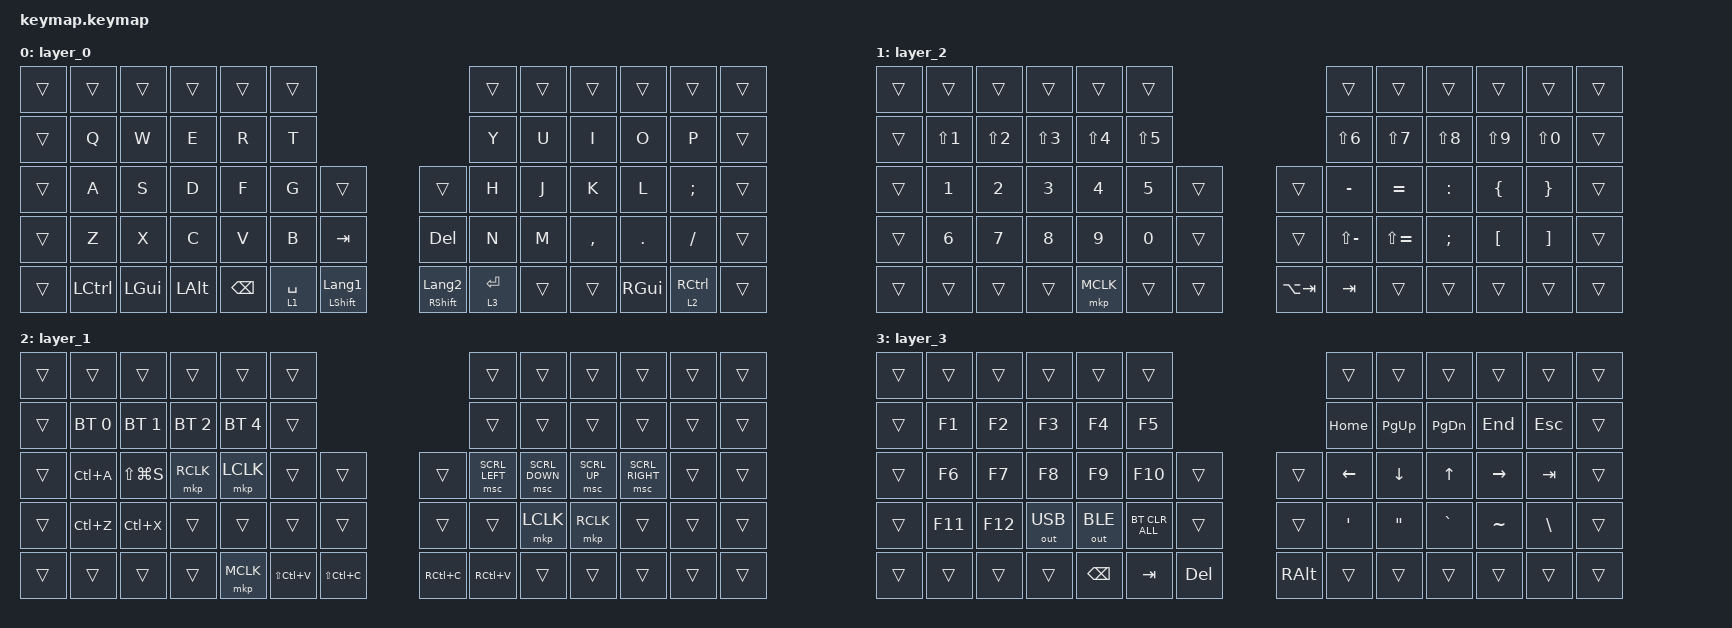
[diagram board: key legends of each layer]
#include <behaviors.dtsi>
#include <dt-bindings/zmk/bt.h>
#include <dt-bindings/zmk/keys.h>
#include <dt-bindings/zmk/outputs.h>
#include <dt-bindings/zmk/pointing.h>

/ {
    combos {
        compatible = "zmk,combos";

        bt_clear {
            bindings = <&bt BT_CLR>;
            key-positions = <28 29>;
            layers = <1>;
        };
    };

    keymap {
        compatible = "zmk,keymap";

        layer_0 {
            bindings = <
&trans  &trans     &trans    &trans    &trans    &trans                                                         &trans       &trans  &trans     &trans    &trans       &trans
&trans  &kp Q      &kp W     &kp E     &kp R     &kp T                                                          &kp Y        &kp U   &kp I      &kp O     &kp P        &trans
&trans  &kp A      &kp S     &kp D     &kp F     &kp G        &trans                     &trans                 &kp H        &kp J   &kp K      &kp L     &kp SEMI     &trans
&trans  &kp Z      &kp X     &kp C     &kp V     &kp B        &kp TAB                    &kp DELETE             &kp N        &kp M   &kp COMMA  &kp DOT   &kp SLASH    &trans
&trans  &kp LCTRL  &kp LGUI  &kp LALT  &kp BSPC  &lt 1 SPACE  &mt LEFT_SHIFT LANGUAGE_1  &mt RSHIFT LANGUAGE_2  &lt 3 ENTER  &trans  &trans     &kp RGUI  &lt 2 RCTRL  &trans
            >;
        };

        layer_2 {
            bindings = <
&trans  &trans            &trans            &trans      &trans      &trans                           &trans         &trans         &trans         &trans            &trans             &trans
&trans  &kp LS(NUMBER_1)  &kp LS(NUMBER_2)  &kp LS(N3)  &kp LS(N4)  &kp LS(N5)                       &kp LS(N6)     &kp LS(N7)     &kp LS(N8)     &kp LS(N9)        &kp LS(N0)         &trans
&trans  &kp N1            &kp N2            &kp N3      &kp N4      &kp N5      &trans  &trans       &kp MINUS      &kp EQUAL      &kp COLON      &kp LEFT_BRACE    &kp RIGHT_BRACE    &trans
&trans  &kp N6            &kp N7            &kp N8      &kp N9      &kp N0      &trans  &trans       &kp LS(MINUS)  &kp LS(EQUAL)  &kp SEMICOLON  &kp LEFT_BRACKET  &kp RIGHT_BRACKET  &trans
&trans  &trans            &trans            &trans      &mkp MCLK   &trans      &trans  &kp LA(TAB)  &kp TAB        &trans         &trans         &trans            &trans             &trans
            >;
        };

        layer_1 {
            bindings = <
&trans  &trans        &trans         &trans        &trans        &trans                                   &trans          &trans          &trans        &trans           &trans  &trans
&trans  &bt BT_SEL 0  &bt BT_SEL 1   &bt BT_SEL 2  &bt BT_SEL 4  &trans                                   &trans          &trans          &trans        &trans           &trans  &trans
&trans  &kp LC(A)     &kp LS(LG(S))  &mkp RCLK     &mkp LCLK     &trans         &trans         &trans     &msc SCRL_LEFT  &msc SCRL_DOWN  &msc SCRL_UP  &msc SCRL_RIGHT  &trans  &trans
&trans  &kp LC(Z)     &kp LC(X)      &trans        &trans        &trans         &trans         &trans     &trans          &mkp LCLK       &mkp RCLK     &trans           &trans  &trans
&trans  &trans        &trans         &trans        &mkp MCLK     &kp LS(LC(V))  &kp LS(LC(C))  &kp RC(C)  &kp RC(V)       &trans          &trans        &trans           &trans  &trans
            >;
        };

        layer_3 {
            bindings = <
&trans  &trans   &trans   &trans        &trans         &trans                                     &trans            &trans     &trans         &trans     &trans         &trans
&trans  &kp F1   &kp F2   &kp F3        &kp F4         &kp F5                                     &kp HOME          &kp PG_UP  &kp PAGE_DOWN  &kp END    &kp ESCAPE     &trans
&trans  &kp F6   &kp F7   &kp F8        &kp F9         &kp F10         &trans      &trans         &kp LEFT          &kp DOWN   &kp UP_ARROW   &kp RIGHT  &kp TAB        &trans
&trans  &kp F11  &kp F12  &out OUT_USB  &out OUT_BLE   &bt BT_CLR_ALL  &trans      &trans         &kp SINGLE_QUOTE  &kp DQT    &kp GRAVE      &kp TILDE  &kp BACKSLASH  &trans
&trans  &trans   &trans   &trans        &kp BACKSPACE  &kp TAB         &kp DELETE  &kp RIGHT_ALT  &trans            &trans     &trans         &trans     &trans         &trans
            >;
        };
    };
};
